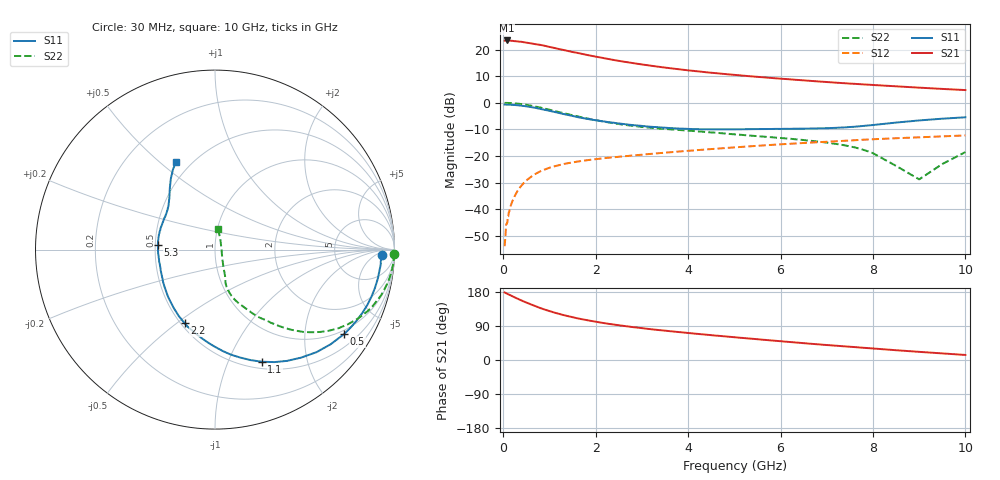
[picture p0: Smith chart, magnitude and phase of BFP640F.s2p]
! (c) 2013  Infineon Technologies AG, Munich
! Infineon Technologies  Discrete & RF Semiconductors
! BFP640F
! VCE =  1.0 V,  IC =  5.0 mA
! Common Emitter S-Parameters:  Apr 2013
# GHz  S  MA  R  50
!  f  S11  S21  S12  S22
! GHz  MAG  ANG  MAG  ANG  MAG  ANG  MAG  ANG
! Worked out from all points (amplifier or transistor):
!   99 points, 30 MHz to 10 GHz, reference 50 ohm
!   highest |S21| = 23.5 dB at 80 MHz (marker M1)
!   |S21| within 3 dB of that: start of sweep to 1.149 GHz
!   unconditionally stable (mu >= 1): 4.537 GHz to end of sweep
!   at 350 MHz: K = 0.09, MSG = 27.6 dB, |S12| = -32.1 dB
!   at 3.5 GHz: K = 0.91, MSG = 16.0 dB, |S12| = -18.8 dB
!   at 10 GHz: K = 1.10, MAG = 6.6 dB, |S12| = -12.3 dB
!   lowest NFmin = 0.52 dB at 450 MHz
!   S11 on the Smith chart (normalised r, x): 30 MHz: 22, -10; 500 MHz: 0.87, -3.14; 1.1 GHz: 0.58, -1.33; 2.2 GHz: 0.52, -0.53; 5.3 GHz: 0.52, +0.03; 10 GHz: 0.41, +0.57
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0.03  0.9286 -2.0  14.78 178.2  0.002 90.9  0.998 -1.3
0.06  0.9256 -4.1  14.89 176.3  0.0049 80.6  0.998 -2.7
0.08  0.9262 -5.4  14.96 175.2  0.0053 95.6  0.9964 -3.6
0.14  0.9221 -9.6  14.87 171.6  0.0101 84.4  0.9929 -6.3
0.3  0.9025 -20.2  14.38 162.4  0.0213 80.2  0.9688 -13.4
0.4  0.8821 -26.8  14.09 156.8  0.0279 77.6  0.9449 -17.7
0.5  0.8599 -33.1  13.61 151.7  0.0346 73.8  0.9185 -21.8
0.6  0.8327 -39.3  13.2 146.7  0.0403 70.8  0.8859 -25.6
0.8  0.7694 -51.5  12.37 137.2  0.0512 65.0  0.8166 -32.4
1.1  0.6766 -67.4  10.84 125.4  0.0636 58.1  0.7063 -40.7
1.4  0.5919 -81.4  9.481 115.8  0.0731 53.1  0.6124 -46.7
1.7  0.5206 -94.1  8.377 107.7  0.0805 50.0  0.534 -51.2
2.2  0.4434 -112.5  6.888 97.0  0.091 46.2  0.4401 -57.6
2.8  0.3816 -130.6  5.616 86.9  0.102 43.9  0.3687 -62.5
3.4  0.3443 -146.1  4.734 78.6  0.1133 42.3  0.327 -66.2
4.2  0.3193 -163.8  3.924 69.0  0.1288 40.3  0.2908 -69.1
5.1  0.3179 178.9  3.306 59.0  0.1469 37.6  0.2521 -71.6
5.3  0.3192 175.4  3.191 56.9  0.151 37.0  0.2432 -71.9
6.7  0.3288 151.5  2.574 42.4  0.1792 31.7  0.1912 -72.3
8.5  0.4252 126.3  2.048 25.8  0.2157 23.8  0.065 -51.1
9  0.4665 121.8  1.933 21.5  0.2244 21.5  0.0362 10.4
10  0.5349 114.0  1.74 13.3  0.2433 16.8  0.1184 82.7
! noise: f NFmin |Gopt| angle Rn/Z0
0.45  0.52  0.39  9  0.12
0.9  0.54  0.39  20  0.12
1  0.5469  0.3879  20.96  0.1218
1.5  0.58  0.37  28  0.13
1.9  0.6  0.35  43  0.13
2.4  0.65  0.32  59  0.14
3.5  0.75  0.26  79  0.15
5.5  0.99  0.21  151  0.17
10  1.71  0.44  -104  0.36
